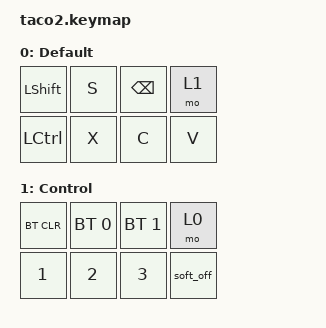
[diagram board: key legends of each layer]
/*
 * Copyright (c) 2020 The ZMK Contributors
 *
 * SPDX-License-Identifier: MIT
 */

#include <behaviors.dtsi>
#include <dt-bindings/zmk/keys.h>
#include <dt-bindings/zmk/bt.h>

&soft_off {
    hold-time-ms = <5000>; // Only turn off it the key is held for 5 seconds or longer.
};

/ {
    combos {
        compatible = "zmk,combos";
        combo_esc {
            timeout-ms = <50>;
            layers = <0>;
            key-positions = <1 7>;
            bindings = < &kp NUMBER_1>;
        };
    };
};

/ {
    combos {
        compatible = "zmk,combos";
        combo_esc {
            timeout-ms = <50>;
            layers = <0>;
            key-positions = <2 7>;
            bindings = < &kp NUMBER_2>;
        };
    };
};

/ {
        keymap {
                compatible = "zmk,keymap";

                default_layer { //layer 0
                        display-name = "Default";
// -------------------------------------------------------------------------------------
// | BT_CLR  |  BSPC  |
// | BT1 |  softoff |
                        bindings = <
   &kp LSHFT  &kp S &kp BSPC &mo 1
   &kp LCTRL  &kp X &kp C &kp V
                        >;
                };
                lower_layer { //layer 2
                        display-name = "Control";
// -------------------------------------------------------------------------------------
// | BT_CLR  |  BSPC  |
// | BT1 |  softoff |
                        bindings = <
    &bt BT_CLR  &bt BT_SEL 0 &bt BT_SEL 1 &mo 0
    &kp NUMBER_1   &kp NUMBER_2 &kp NUMBER_3 &soft_off
                        >;
                };
        };
};

